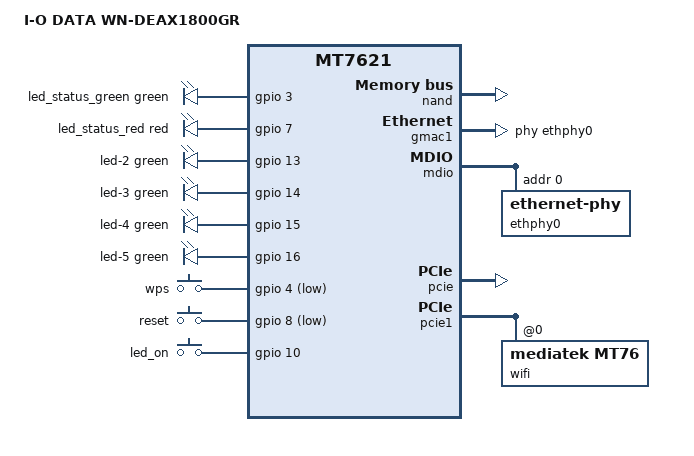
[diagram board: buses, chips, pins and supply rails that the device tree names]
// SPDX-License-Identifier: GPL-2.0-or-later OR MIT

#include "mt7621.dtsi"

#include <dt-bindings/gpio/gpio.h>
#include <dt-bindings/input/input.h>
#include <dt-bindings/leds/common.h>

/ {
	compatible = "iodata,wn-deax1800gr", "mediatek,mt7621-soc";
	model = "I-O DATA WN-DEAX1800GR";

	aliases {
		led-boot = &led_status_green;
		led-failsafe = &led_status_red;
		led-upgrade = &led_status_green;
		label-mac-device = &gmac1;
	};

	chosen {
		bootargs = "console=ttyS0,115200";
	};

	leds {
		compatible = "gpio-leds";

		led_status_green: led-0 {
			gpios = <&gpio 3 GPIO_ACTIVE_HIGH>;
			color = <LED_COLOR_ID_GREEN>;
			function = LED_FUNCTION_STATUS;
		};

		led_status_red: led-1 {
			gpios = <&gpio 7 GPIO_ACTIVE_HIGH>;
			color = <LED_COLOR_ID_RED>;
			function = LED_FUNCTION_STATUS;
		};

		led-2 {
			gpios = <&gpio 13 GPIO_ACTIVE_HIGH>;
			color = <LED_COLOR_ID_GREEN>;
			function = LED_FUNCTION_WPS;
		};

		led-3 {
			gpios = <&gpio 14 GPIO_ACTIVE_HIGH>;
			color = <LED_COLOR_ID_GREEN>;
			function = LED_FUNCTION_POWER;
			default-state = "on";
		};

		led-4 {
			gpios = <&gpio 15 GPIO_ACTIVE_HIGH>;
			color = <LED_COLOR_ID_GREEN>;
			function = LED_FUNCTION_INDICATOR;
		};

		led-5 {
			gpios = <&gpio 16 GPIO_ACTIVE_HIGH>;
			color = <LED_COLOR_ID_GREEN>;
			function = LED_FUNCTION_WAN;
		};
	};

	keys {
		compatible = "gpio-keys";

		wps {
			label = "wps";
			gpios = <&gpio 4 GPIO_ACTIVE_LOW>;
			linux,code = <KEY_WPS_BUTTON>;
		};

		reset {
			label = "reset";
			gpios = <&gpio 8 GPIO_ACTIVE_LOW>;
			linux,code = <KEY_RESTART>;
		};

		led_on {
			label = "led_on";
			gpios = <&gpio 10 GPIO_ACTIVE_HIGH>;
			linux,code = <BTN_0>;
			linux,input-type = <EV_SW>;
		};
	};
};

&nand {
	status = "okay";

	mediatek,nmbm;
	mediatek,bmt-remap-range =
		<0x0000000 0x780000>, /*  u-boot - kernel1(6 MiB) */
		<0x2f80000 0x600000>, /* kernel2 - kernel2(6 MiB) */
		<0x5d80000 0x780000>; /* storage - working */

	partitions {
		compatible = "fixed-partitions";
		#address-cells = <1>;
		#size-cells = <1>;

		partition@0 {
			label = "u-boot";
			reg = <0x0 0x80000>;
			read-only;
		};

		partition@80000 {
			label = "u-boot-env";
			reg = <0x80000 0x80000>;
			read-only;
		};

		partition@100000 {
			label = "factory";
			reg = <0x100000 0x80000>;
			read-only;

			nvmem-layout {
				compatible = "fixed-layout";
				#address-cells = <1>;
				#size-cells = <1>;

				eeprom: eeprom@0 {
					reg = <0x0 0xe00>;
				};

				macaddr_factory_4: macaddr@4 {
					compatible = "mac-base";
					reg = <0x4 0x6>;
					#nvmem-cell-cells = <1>;
				};

				precal: precal@e10 {
					reg = <0xe10 0x19c10>;
				};
			};
		};

		partition@180000 {
			label = "kernel";
			reg = <0x180000 0x600000>;
		};

		partition@580000 {
			label = "ubi";
			reg = <0x780000 0x2800000>;
		};

		partition@2f80000 {
			label = "firmware2";
			reg = <0x2f80000 0x2e00000>;
		};

		partition@5d80000 {
			label = "storage";
			reg = <0x5d80000 0x600000>;
			read-only;
		};

		partition@6380000 {
			label = "idmkey";
			reg = <0x6380000 0x100000>;
			read-only;
		};

		partition@6480000 {
			label = "working";
			reg = <0x6480000 0x80000>;
		};
	};
};

&gmac0 {
	nvmem-cells = <&macaddr_factory_4 0>;
	nvmem-cell-names = "mac-address";
};

&gmac1 {
	status = "okay";
	label = "wan";
	phy-handle = <&ethphy0>;

	nvmem-cells = <&macaddr_factory_4 2>;
	nvmem-cell-names = "mac-address";
};

&mdio {
	ethphy0: ethernet-phy@0 {
		reg = <0>;
	};
};

&switch0 {
	ports {
		port@1 {
			status = "okay";
			label = "lan2";
		};

		port@2 {
			status = "okay";
			label = "lan1";
		};
	};
};

&pcie {
	status = "okay";
};

/*
 * pcie0: MT7915 HIF (14c3,7916)
 * pcie1: MT7915     (14c3,7915)
 */
&pcie1 {
	wifi@0,0 {
		compatible = "mediatek,mt76";
		reg = <0x0000 0 0 0 0>;

		nvmem-cells = <&eeprom>, <&precal>;
		nvmem-cell-names = "eeprom", "precal";
	};
};

&state_default {
	gpio {
		groups = "i2c", "jtag", "uart2", "uart3";
		function = "gpio";
	};
};

&xhci {
	status = "disabled";
};
